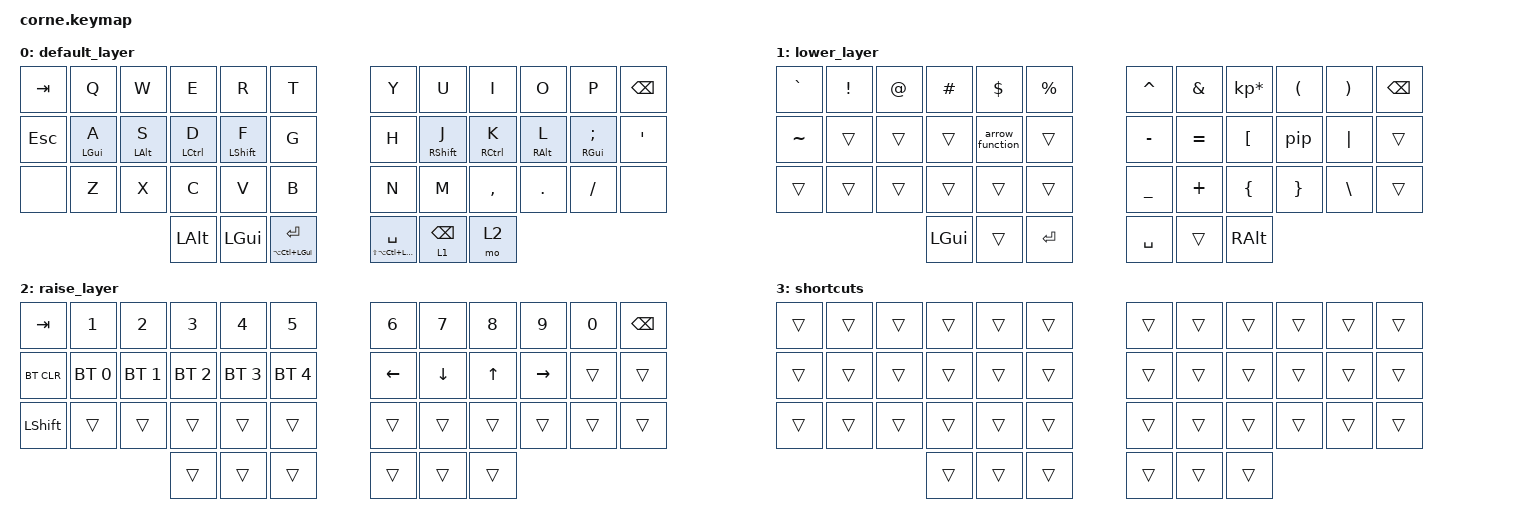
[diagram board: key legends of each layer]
/*
 * Copyright (c) 2020 The ZMK Contributors
 *
 * SPDX-License-Identifier: MIT
 */

#include <behaviors.dtsi>
#include <dt-bindings/zmk/bt.h>
#include <dt-bindings/zmk/keys.h>

#define HYP LS(LC(LA(LGUI)))

/ {
    macros {
        arrow_function: arrow_function {
            compatible = "zmk,behavior-macro";
            label = "ARROW_FUNCTION";
            #binding-cells = <0>;
            bindings = <&kp EQUAL &kp GT>;
        };
    };

    behaviors {
        pip: pip {
            compatible = "zmk,behavior-tap-dance";
            label = "PIP";
            #binding-cells = <0>;
            bindings =
                <&kp RBKT>,
                <&kp LS(LA(LG(RBKT)))>;
        };
        tog_layer: tog_layer {
            compatible = "zmk,behavior-hold-tap";
            label = "TOG_LAYER";
            bindings =
                <&kp>,
                <&tog>;

            #binding-cells = <2>;
            tapping-term-ms = <200>;
        };
    };

    keymap {
        compatible = "zmk,keymap";

        default_layer {
            // -----------------------------------------------------------------------------------------
            // |  TAB |  Q  |  W  |  E  |  R  |  T  |   |  Y  |  U   |  I  |  O  |  P  | BKSP |
            // | CTRL |  A  |  S  |  D  |  F  |  G  |   |  H  |  J   |  K  |  L  |  ;  |  '   |
            // | SHFT |  Z  |  X  |  C  |  V  |  B  |   |  N  |  M   |  ,  |  .  |  /  | ESC  |
            //                    | GUI | LWR | SPC |   | ENT | RSE  | ALT |

            bindings = <
&kp TAB       &kp Q       &kp W        &kp E         &kp R                 &kp T                             &kp Y            &kp U        &kp I       &kp O          &kp P  &kp BSPC
&kp ESC  &mt LGUI A  &mt LALT S  &mt LCTRL D  &mt LSHIFT F                 &kp G                             &kp H     &mt RSHIFT J  &mt RCTRL K  &mt RALT L  &mt RGUI SEMI   &kp SQT
  &none       &kp Z       &kp X        &kp C         &kp V                 &kp B                             &kp N            &kp M    &kp COMMA     &kp DOT       &kp FSLH     &none
                                    &kp LALT  &kp LEFT_GUI  &mt LA(LC(LGUI)) RET    &mt LS(LA(LC(LEFT_GUI))) SPACE  &lt 1 BACKSPACE        &mo 2
            >;
        };

        lower_layer {
            // -----------------------------------------------------------------------------------------
            // |  TAB |  !  |  @  |  #  |  $  |  %  |   |  ^  |  &  |  *  |  (  |  )  | BKSP |
            // | CTRL |     |     |     |     |     |   |  -  |  =  |  [  |  ]  |  \  |  `   |
            // | SHFT |     |     |     |     |     |   |  _  |  +  |  {  |  }  | "|" |  ~   |
            //                    | GUI |     | SPC |   | ENT |     | ALT |

            bindings = <
&kp GRAVE  &kp EXCL  &kp AT  &kp HASH         &kp DLLR  &kp PRCNT    &kp CARET   &kp AMPS  &kp KP_MULTIPLY  &kp LPAR  &kp RPAR  &kp BSPC
&kp TILDE    &trans  &trans    &trans  &arrow_function     &trans    &kp MINUS  &kp EQUAL         &kp LBKT      &pip  &kp PIPE    &trans
   &trans    &trans  &trans    &trans           &trans     &trans    &kp UNDER   &kp PLUS         &kp LBRC  &kp RBRC  &kp BSLH    &trans
                             &kp LGUI           &trans    &kp RET    &kp SPACE     &trans         &kp RALT
            >;
        };

        raise_layer {
            // -----------------------------------------------------------------------------------------
            // |  TAB |  1  |  2  |  3  |  4  |  5  |   |  6  |  7  |  8  |  9  |  0  | BKSP |
            // | BTCLR| BT1 | BT2 | BT3 | BT4 | BT5 |   | LFT | DWN |  UP | RGT |     |      |
            // | SHFT |     |     |     |     |     |   |     |     |     |     |     |      |
            //                    | GUI |     | SPC |   | ENT |     | ALT |

            bindings = <
   &kp TAB        &kp N1        &kp N2        &kp N3        &kp N4        &kp N5      &kp N6    &kp N7  &kp N8     &kp N9  &kp N0  &kp BSPC
&bt BT_CLR  &bt BT_SEL 0  &bt BT_SEL 1  &bt BT_SEL 2  &bt BT_SEL 3  &bt BT_SEL 4    &kp LEFT  &kp DOWN  &kp UP  &kp RIGHT  &trans    &trans
 &kp LSHFT        &trans        &trans        &trans        &trans        &trans      &trans    &trans  &trans     &trans  &trans    &trans
                                              &trans        &trans        &trans      &trans    &trans  &trans
            >;
        };

        shortcuts {
            bindings = <
&trans  &trans  &trans  &trans  &trans  &trans    &trans  &trans  &trans  &trans  &trans  &trans
&trans  &trans  &trans  &trans  &trans  &trans    &trans  &trans  &trans  &trans  &trans  &trans
&trans  &trans  &trans  &trans  &trans  &trans    &trans  &trans  &trans  &trans  &trans  &trans
                        &trans  &trans  &trans    &trans  &trans  &trans
            >;
        };
    };
};
